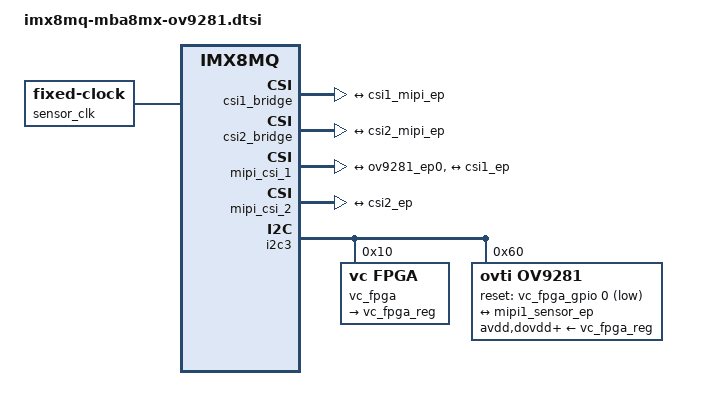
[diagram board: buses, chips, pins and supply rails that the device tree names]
// SPDX-License-Identifier: (GPL-2.0-or-later OR MIT)
/*
 * Copyright 2021 TQ-Systems GmbH
 */

/ {
	sensor_clk: sensor-clk {
		#clock-cells = <0>;
		compatible = "fixed-clock";
		clock-frequency = <24000000>;
	};
};

&csi1_bridge {
	fsl,mipi-mode;
	dma-coherent;
	status = "okay";

	port {
		csi1_ep: endpoint {
			remote-endpoint = <&csi1_mipi_ep>;
		};
	};
};

&csi2_bridge {
	fsl,mipi-mode;
	dma-coherent;

	port {
		csi2_ep: endpoint {
			remote-endpoint = <&csi2_mipi_ep>;
		};
	};
};

&mipi_csi_1 {
	#address-cells = <1>;
	#size-cells = <0>;

	port {
		mipi1_sensor_ep: endpoint@0 {
			data-lanes = <1 2>;
			remote-endpoint = <&ov9281_ep0>;
		};

		csi1_mipi_ep: endpoint@1 {
			remote-endpoint = <&csi1_ep>;
		};
	};
};

&mipi_csi_2 {
	#address-cells = <1>;
	#size-cells = <0>;

	port {
		mipi2_sensor_ep: endpoint@0 {
		};

		csi2_mipi_ep: endpoint@1 {
			remote-endpoint = <&csi2_ep>;
		};
	};
};

&i2c3 {
	vc_fpga: fpga@10 {
		reg = <0x10>;
		compatible = "vc,fpga";

		vc_fpga_reg: regulator {
			regulator-name = "CAM_VCC";
		};

		vc_fpga_reset: reset {
			#reset-cells = <0>;
		};

		vc_fpga_gpio: gpio-chip {
			gpio-controller;
			#gpio-cells = <2>;
		};
	};

	ov9281: camera@60 {
		#address-cells = <0x1>;
		#size-cells = <0x0>;
		reg = <0x60>;

		compatible = "ovti,ov9281";

		clock-names = "xvclk";
		clocks = <&sensor_clk>;

		avdd-supply = <&vc_fpga_reg>;
		dovdd-supply = <&vc_fpga_reg>;
		dvdd-supply = <&vc_fpga_reg>;

		/* NOTE: driver implements a wrong logic! */
		reset-gpios = <&vc_fpga_gpio 0 GPIO_ACTIVE_LOW>;

		port@0 {
			reg = <0>;

			ov9281_ep0: endpoint {
				remote-endpoint = <&mipi1_sensor_ep>;
				data-lanes = <1 2>;
				clock-lanes = <0>;
				clock-noncontinuous = <1>;
				link-frequencies = /bits/ 64 <400000000>;
			};
		};
	};
};

&mipi_csi_1 {
	status = "okay";

	// https://community.nxp.com/t5/i-MX-Processors/Fixing-base-address-switching-Change-Err-which-occurs-randomly/m-p/902311
	assigned-clock-rates = <
		200000000			/* > mipi bandwidth/8 */
		333000000			/* > pixclk */
		66000000
	>;
};
